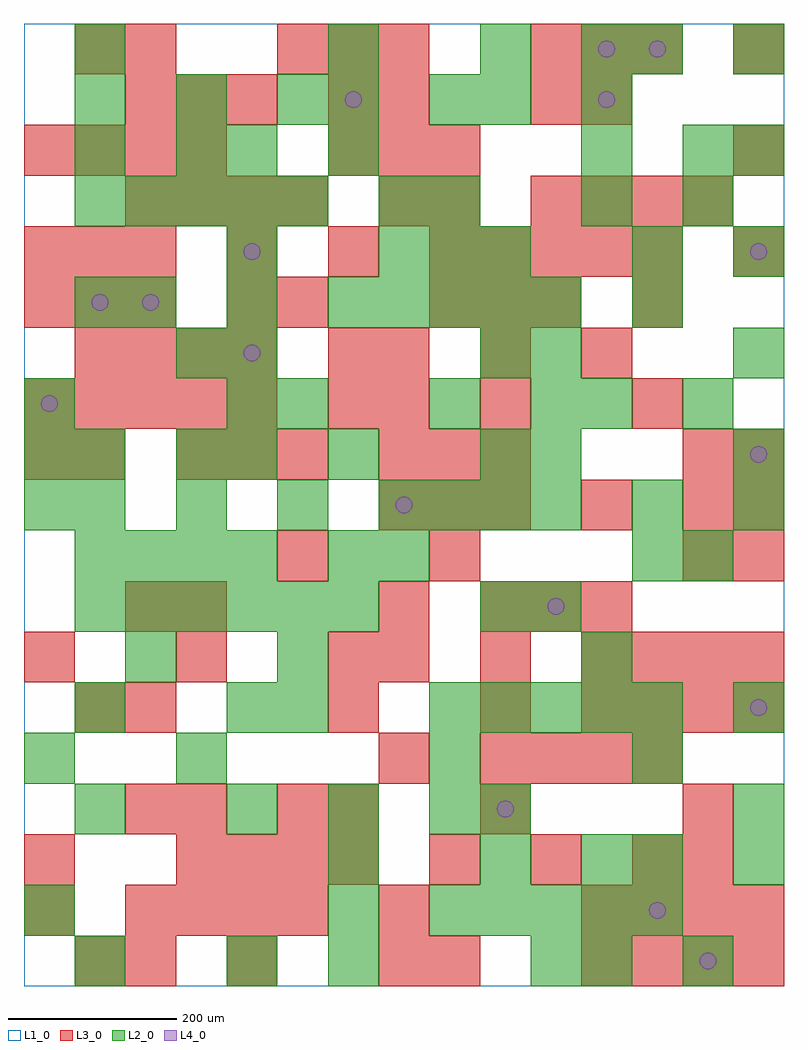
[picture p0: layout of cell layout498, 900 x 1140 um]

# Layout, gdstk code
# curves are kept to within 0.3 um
import gdstk
lib = gdstk.Library(unit=1e-6, precision=1e-09)
def R(c, l, rs):  # rectangles x0, y0, x1, y1
    for r in rs: c.add(gdstk.rectangle(r[:2], r[2:], *l))
def A(c, l, x, y, w, h, nx, ny, dx, dy):  # array of equal rectangles
    R(c, l, [(x+i*dx, y+j*dy, x+i*dx+w, y+j*dy+h) for i in range(nx) for j in range(ny)])
def P(c, l, *ps):  # polygons
    for p in ps: c.add(gdstk.Polygon(p, *l))
L1_0 = (1, 0)
L2_0 = (2, 0)
L3_0 = (3, 0)
L4_0 = (4, 0)

layout498 = lib.new_cell('layout498')
R(layout498, L1_0, [(0,0,900,1140)])
A(layout498, L2_0, 240, 0, 60, 60, 1, 3, 0, 300)
A(layout498, L2_0, 360, 0, 60, 60, 1, 3, 0, 60)
A(layout498, L2_0, 480, 60, 60, 60, 5, 2, 60, 240)
A(layout498, L2_0, 240, 180, 60, 60, 3, 1, 120, 0)
A(layout498, L2_0, 60, 420, 60, 60, 6, 1, 60, 0)
A(layout498, L2_0, 60, 480, 60, 60, 4, 1, 60, 0)
A(layout498, L2_0, 0, 540, 60, 60, 1, 3, 0, 60)
A(layout498, L2_0, 60, 540, 60, 60, 4, 1, 120, 0)
A(layout498, L2_0, 480, 540, 60, 60, 3, 1, 60, 0)
A(layout498, L2_0, 60, 600, 60, 60, 1, 3, 0, 180)
A(layout498, L2_0, 600, 600, 60, 60, 1, 3, 0, 60)
A(layout498, L2_0, 840, 600, 60, 60, 1, 5, 0, 120)
A(layout498, L2_0, 240, 720, 60, 60, 1, 3, 0, 120)
A(layout498, L2_0, 120, 780, 60, 60, 3, 1, 120, 0)
A(layout498, L2_0, 420, 780, 60, 60, 4, 1, 60, 0)
A(layout498, L2_0, 420, 840, 60, 60, 3, 1, 60, 0)
A(layout498, L2_0, 60, 900, 60, 60, 5, 1, 60, 0)
A(layout498, L2_0, 660, 900, 60, 60, 1, 4, 0, 60)
A(layout498, L2_0, 360, 960, 60, 60, 1, 3, 0, 60)
A(layout498, L2_0, 60, 1020, 60, 60, 3, 1, 120, 0)
R(layout498, L2_0, [(60,0,120,60), (600,0,660,60), (660,0,720,60), (780,0,840,60), (0,60,60,120), (540,120,600,180), (660,120,720,180), (720,120,780,180), (840,120,900,180), (60,180,120,240), (540,180,600,240), (840,180,900,240), (0,240,60,300), (180,240,240,300), (480,240,540,300), (720,240,780,300), (60,300,120,360), (300,300,360,360), (840,300,900,360), (120,360,180,420), (300,360,360,420), (660,360,720,420), (540,420,600,480), (600,420,660,480), (360,480,420,540), (420,480,480,540), (720,480,780,540), (780,480,840,540), (720,540,780,600), (840,540,900,600), (180,600,240,660), (360,600,420,660), (540,600,600,660), (240,660,300,720), (300,660,360,720), (480,660,540,720), (660,660,720,720), (780,660,840,720), (180,720,240,780), (540,720,600,780), (720,780,780,840), (720,840,780,900), (420,900,480,960), (480,900,540,960), (780,900,840,960), (180,960,240,1020), (780,960,840,1020), (480,1020,540,1080), (540,1020,600,1080), (60,1080,120,1140), (540,1080,600,1140), (720,1080,780,1140)])
A(layout498, L3_0, 60, 0, 60, 60, 1, 3, 0, 300)
A(layout498, L3_0, 660, 0, 60, 60, 4, 2, 60, 60)
A(layout498, L3_0, 120, 60, 60, 60, 4, 2, 60, 840)
A(layout498, L3_0, 420, 60, 60, 60, 1, 3, 0, 180)
A(layout498, L3_0, 180, 120, 60, 60, 4, 1, 60, 0)
A(layout498, L3_0, 480, 120, 60, 60, 3, 1, 120, 0)
A(layout498, L3_0, 120, 180, 60, 60, 1, 3, 0, 120)
A(layout498, L3_0, 300, 180, 60, 60, 1, 3, 0, 300)
A(layout498, L3_0, 540, 240, 60, 60, 4, 2, 60, 600)
A(layout498, L3_0, 660, 300, 60, 60, 4, 1, 60, 0)
A(layout498, L3_0, 0, 360, 60, 60, 3, 1, 180, 0)
A(layout498, L3_0, 420, 360, 60, 60, 3, 2, 120, 360)
A(layout498, L3_0, 720, 360, 60, 60, 3, 1, 60, 0)
A(layout498, L3_0, 540, 420, 60, 60, 3, 1, 60, 0)
A(layout498, L3_0, 780, 480, 60, 60, 1, 3, 0, 60)
A(layout498, L3_0, 840, 480, 60, 60, 1, 3, 0, 60)
A(layout498, L3_0, 420, 540, 60, 60, 3, 2, 60, 60)
A(layout498, L3_0, 180, 600, 60, 60, 3, 1, 60, 0)
A(layout498, L3_0, 0, 660, 60, 60, 5, 1, 60, 0)
A(layout498, L3_0, 60, 720, 60, 60, 4, 1, 60, 0)
A(layout498, L3_0, 0, 780, 60, 60, 3, 2, 60, 60)
A(layout498, L3_0, 480, 780, 60, 60, 3, 1, 60, 0)
A(layout498, L3_0, 240, 840, 60, 60, 3, 1, 120, 0)
A(layout498, L3_0, 840, 840, 60, 60, 1, 3, 0, 120)
A(layout498, L3_0, 600, 900, 60, 60, 4, 1, 60, 0)
A(layout498, L3_0, 0, 960, 60, 60, 4, 1, 60, 0)
A(layout498, L3_0, 360, 960, 60, 60, 3, 1, 60, 0)
A(layout498, L3_0, 120, 1020, 60, 60, 3, 1, 60, 0)
A(layout498, L3_0, 300, 1080, 60, 60, 3, 1, 60, 0)
A(layout498, L3_0, 600, 1080, 60, 60, 3, 1, 60, 0)
R(layout498, L3_0, [(120,0,180,60), (240,0,300,60), (420,0,480,60), (480,0,540,60), (0,60,60,120), (0,120,60,180), (780,120,840,180), (180,180,240,240), (360,180,420,240), (540,180,600,240), (780,180,840,240), (360,300,420,360), (540,300,600,360), (180,420,240,480), (480,480,540,540), (660,540,720,600), (0,600,60,660), (360,660,420,720), (420,660,480,720), (540,660,600,720), (720,660,780,720), (360,720,420,780), (240,780,300,840), (720,780,780,840), (420,900,480,960), (480,900,540,960), (360,1020,420,1080), (420,1020,480,1080), (600,1020,660,1080), (660,1020,720,1080), (60,1080,120,1140), (120,1080,180,1140)])
P(layout498, L4_0, [(40,690),(39.239,693.827),(37.071,697.071),(33.827,699.239),(30,700),(26.173,699.239),(22.929,697.071),(20.761,693.827),(20,690),(20.761,686.173),(22.929,682.929),(26.173,680.761),(30,680),(33.827,680.761),(37.071,682.929),(39.239,686.173)],
  [(100,810),(99.239,813.827),(97.071,817.071),(93.827,819.239),(90,820),(86.173,819.239),(82.929,817.071),(80.761,813.827),(80,810),(80.761,806.173),(82.929,802.929),(86.173,800.761),(90,800),(93.827,800.761),(97.071,802.929),(99.239,806.173)],
  [(160,810),(159.239,813.827),(157.071,817.071),(153.827,819.239),(150,820),(146.173,819.239),(142.929,817.071),(140.761,813.827),(140,810),(140.761,806.173),(142.929,802.929),(146.173,800.761),(150,800),(153.827,800.761),(157.071,802.929),(159.239,806.173)],
  [(280,750),(279.239,753.827),(277.071,757.071),(273.827,759.239),(270,760),(266.173,759.239),(262.929,757.071),(260.761,753.827),(260,750),(260.761,746.173),(262.929,742.929),(266.173,740.761),(270,740),(273.827,740.761),(277.071,742.929),(279.239,746.173)],
  [(280,870),(279.239,873.827),(277.071,877.071),(273.827,879.239),(270,880),(266.173,879.239),(262.929,877.071),(260.761,873.827),(260,870),(260.761,866.173),(262.929,862.929),(266.173,860.761),(270,860),(273.827,860.761),(277.071,862.929),(279.239,866.173)],
  [(400,1050),(399.239,1053.827),(397.071,1057.071),(393.827,1059.239),(390,1060),(386.173,1059.239),(382.929,1057.071),(380.761,1053.827),(380,1050),(380.761,1046.173),(382.929,1042.929),(386.173,1040.761),(390,1040),(393.827,1040.761),(397.071,1042.929),(399.239,1046.173)],
  [(460,570),(459.239,573.827),(457.071,577.071),(453.827,579.239),(450,580),(446.173,579.239),(442.929,577.071),(440.761,573.827),(440,570),(440.761,566.173),(442.929,562.929),(446.173,560.761),(450,560),(453.827,560.761),(457.071,562.929),(459.239,566.173)],
  [(580,210),(579.239,213.827),(577.071,217.071),(573.827,219.239),(570,220),(566.173,219.239),(562.929,217.071),(560.761,213.827),(560,210),(560.761,206.173),(562.929,202.929),(566.173,200.761),(570,200),(573.827,200.761),(577.071,202.929),(579.239,206.173)],
  [(640,450),(639.239,453.827),(637.071,457.071),(633.827,459.239),(630,460),(626.173,459.239),(622.929,457.071),(620.761,453.827),(620,450),(620.761,446.173),(622.929,442.929),(626.173,440.761),(630,440),(633.827,440.761),(637.071,442.929),(639.239,446.173)],
  [(700,1050),(699.239,1053.827),(697.071,1057.071),(693.827,1059.239),(690,1060),(686.173,1059.239),(682.929,1057.071),(680.761,1053.827),(680,1050),(680.761,1046.173),(682.929,1042.929),(686.173,1040.761),(690,1040),(693.827,1040.761),(697.071,1042.929),(699.239,1046.173)],
  [(700,1110),(699.239,1113.827),(697.071,1117.071),(693.827,1119.239),(690,1120),(686.173,1119.239),(682.929,1117.071),(680.761,1113.827),(680,1110),(680.761,1106.173),(682.929,1102.929),(686.173,1100.761),(690,1100),(693.827,1100.761),(697.071,1102.929),(699.239,1106.173)],
  [(760,90),(759.239,93.827),(757.071,97.071),(753.827,99.239),(750,100),(746.173,99.239),(742.929,97.071),(740.761,93.827),(740,90),(740.761,86.173),(742.929,82.929),(746.173,80.761),(750,80),(753.827,80.761),(757.071,82.929),(759.239,86.173)],
  [(760,1110),(759.239,1113.827),(757.071,1117.071),(753.827,1119.239),(750,1120),(746.173,1119.239),(742.929,1117.071),(740.761,1113.827),(740,1110),(740.761,1106.173),(742.929,1102.929),(746.173,1100.761),(750,1100),(753.827,1100.761),(757.071,1102.929),(759.239,1106.173)],
  [(820,30),(819.239,33.827),(817.071,37.071),(813.827,39.239),(810,40),(806.173,39.239),(802.929,37.071),(800.761,33.827),(800,30),(800.761,26.173),(802.929,22.929),(806.173,20.761),(810,20),(813.827,20.761),(817.071,22.929),(819.239,26.173)],
  [(880,330),(879.239,333.827),(877.071,337.071),(873.827,339.239),(870,340),(866.173,339.239),(862.929,337.071),(860.761,333.827),(860,330),(860.761,326.173),(862.929,322.929),(866.173,320.761),(870,320),(873.827,320.761),(877.071,322.929),(879.239,326.173)],
  [(880,630),(879.239,633.827),(877.071,637.071),(873.827,639.239),(870,640),(866.173,639.239),(862.929,637.071),(860.761,633.827),(860,630),(860.761,626.173),(862.929,622.929),(866.173,620.761),(870,620),(873.827,620.761),(877.071,622.929),(879.239,626.173)],
  [(880,870),(879.239,873.827),(877.071,877.071),(873.827,879.239),(870,880),(866.173,879.239),(862.929,877.071),(860.761,873.827),(860,870),(860.761,866.173),(862.929,862.929),(866.173,860.761),(870,860),(873.827,860.761),(877.071,862.929),(879.239,866.173)])

lib.write_gds('layout498.gds')
